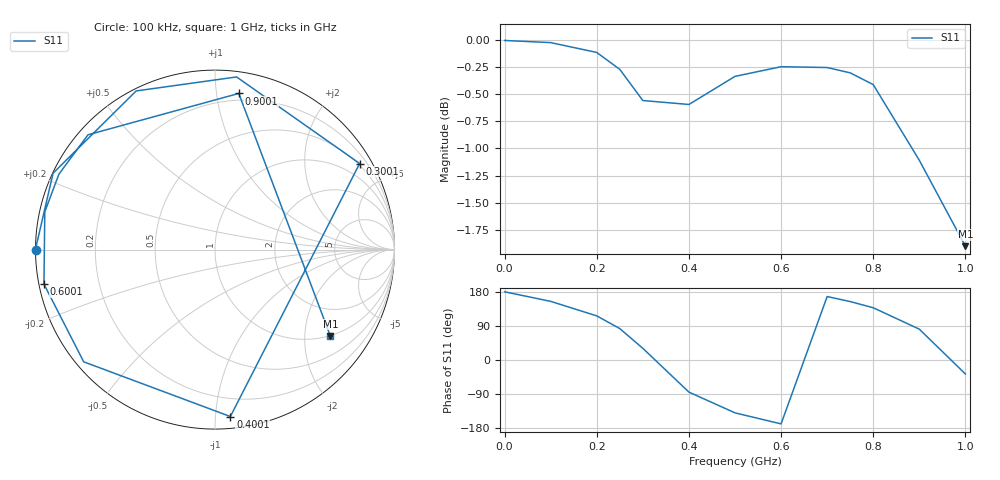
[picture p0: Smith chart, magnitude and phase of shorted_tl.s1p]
! Sonnet Data File
! From: em Version : 15.53-Lite
! From Project: shorted_tl
! Data is De-embedded
! Data File Written: 08/09/2019 21:19:30
!< HDATE 02/08/2019 20:00:37
!< MDATE 08/09/2019 21:16:38
# MHZ S RI R 50.00000
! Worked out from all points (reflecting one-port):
!   14 points, 100 kHz to 1 GHz, reference 50 ohm
!   lowest |S11| = -1.9 dB at 1 GHz (marker M1), VSWR 9.17, Z = 49.3 - j134 ohm
!   phase of S11 starts at 180 deg and turns -577 deg over the sweep
!   S11 on the Smith chart (normalised r, x): 100 kHz: 0.00, +0.00; 300.1 MHz: 0.45, +3.58; 400.1 MHz: 0.08, -1.09; 600.1 MHz: 0.01, -0.10; 900.1 MHz: 0.15, +1.15; 1 GHz: 0.99, -2.68
0.1  -0.9998 0.000305
!< P1 F=0.1 Eeff=(undefined: sl) Z0=(undefined: sl) R=0.0 C=0.0
1.1  -0.9997 0.00459
100.1  -0.902 0.4259
200.1  -0.4393 0.8839
250.1  0.1203 0.962
300.1  0.8059 0.4797
400.1  0.0856 -0.93
500.1  -0.7315 -0.6252
600.1  -0.953 -0.1922
700.1  -0.9483 0.2106
750.1  -0.8696 0.4203
800.1  -0.7077 0.6396
900.1  0.1324 0.8701
1000.1  0.6428 -0.4818
